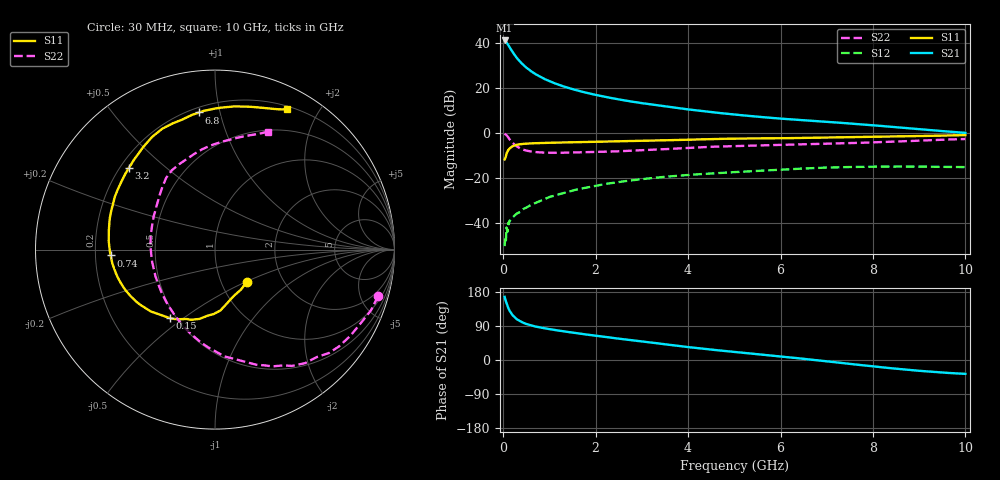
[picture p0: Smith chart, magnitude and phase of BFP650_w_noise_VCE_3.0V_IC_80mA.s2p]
! Infineon Technologies  Discrete & RF Semiconductors
! BFP650
! VCE =  3.0 V,  IC =  80 mA
! Common Emitter S-Parameters:  Jan 2016
# GHz  S  MA  R  50
!  f  S11  S21  S12  S22
! GHz  MAG  ANG  MAG  ANG  MAG  ANG  MAG  ANG
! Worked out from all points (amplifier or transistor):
!   229 points, 30 MHz to 10 GHz, reference 50 ohm
!   highest |S21| = 40.9 dB at 30 MHz (marker M1)
!   |S21| within 3 dB of that: start of sweep to 137.2 MHz
!   unconditionally stable (mu >= 1): 1.396 GHz to 1.454 GHz; 1.47 GHz to end of sweep
!   at 280 MHz: K = 0.60, MSG = 34.9 dB, |S12| = -36.2 dB
!   at 1.78 GHz: K = 1.02, MAG = 20.4 dB, |S12| = -24.5 dB
!   at 10 GHz: K = 1.03, MAG = 6.5 dB, |S12| = -15.3 dB
!   lowest NFmin = 1.25 dB at 450 MHz
!   S11 on the Smith chart (normalised r, x): 30 MHz: 1.32, -0.51; 150 MHz: 0.46, -0.45; 740 MHz: 0.26, -0.03; 3.2 GHz: 0.23, +0.38; 6.8 GHz: 0.23, +0.86; 10 GHz: 0.24, +1.61
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0.03  0.2524 -45.7  111.1 166.6  0.003 77.5  0.945 -16.0
0.04  0.2657 -57.0  109.8 162.0  0.0042 91.6  0.9325 -21.3
0.05  0.2785 -67.9  106.4 157.7  0.0035 103.9  0.9104 -26.6
0.06  0.3067 -77.3  104.7 154.1  0.0043 75.8  0.8946 -32.3
0.08  0.3585 -91.0  98.04 146.5  0.007 83.7  0.8575 -42.2
0.11  0.4139 -109.1  87.67 137.2  0.0099 69.9  0.7769 -56.5
0.15  0.4571 -123.4  74.77 127.6  0.0112 67.9  0.6811 -70.3
0.2  0.4969 -136.1  61.96 118.5  0.013 56.5  0.5976 -84.9
0.24  0.5167 -143.3  54.05 113.4  0.0142 58.7  0.5455 -94.1
0.3  0.5377 -151.4  44.67 107.1  0.016 59.1  0.4875 -106.3
0.34  0.5465 -155.3  39.99 104.1  0.0167 56.7  0.4607 -112.6
0.4  0.5569 -160.5  34.33 100.0  0.0184 57.4  0.4298 -121.3
0.5  0.5681 -166.8  27.71 95.1  0.0216 58.8  0.3986 -132.9
0.74  0.5825 -176.8  18.81 87.3  0.0285 60.1  0.3663 -152.1
1.1  0.5963 173.3  12.56 79.5  0.0394 60.0  0.3569 -170.4
1.7  0.6149 160.8  8.106 69.0  0.0573 56.2  0.364 171.1
3.2  0.6611 136.5  4.215 46.1  0.0971 40.3  0.4123 141.2
3.4  0.6691 133.5  3.94 43.0  0.1018 38.0  0.4226 138.2
5.1  0.7356 112.6  2.457 20.1  0.1341 20.6  0.5053 117.4
6.8  0.7691 96.6  1.792 -0.7  0.1637 3.3  0.5574 98.8
8.4  0.8166 77.3  1.343 -21.8  0.1757 -14.5  0.626 80.7
10  0.8769 62.9  0.985 -36.6  0.171 -27.4  0.7197 66.0
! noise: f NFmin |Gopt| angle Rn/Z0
0.45  1.25  0.51  -171  0.06
0.9  1.27  0.52  -165  0.06
1.9  1.4  0.55  -151  0.08
2.4  1.49  0.54  -141  0.11
3.5  1.69  0.55  -118  0.19
